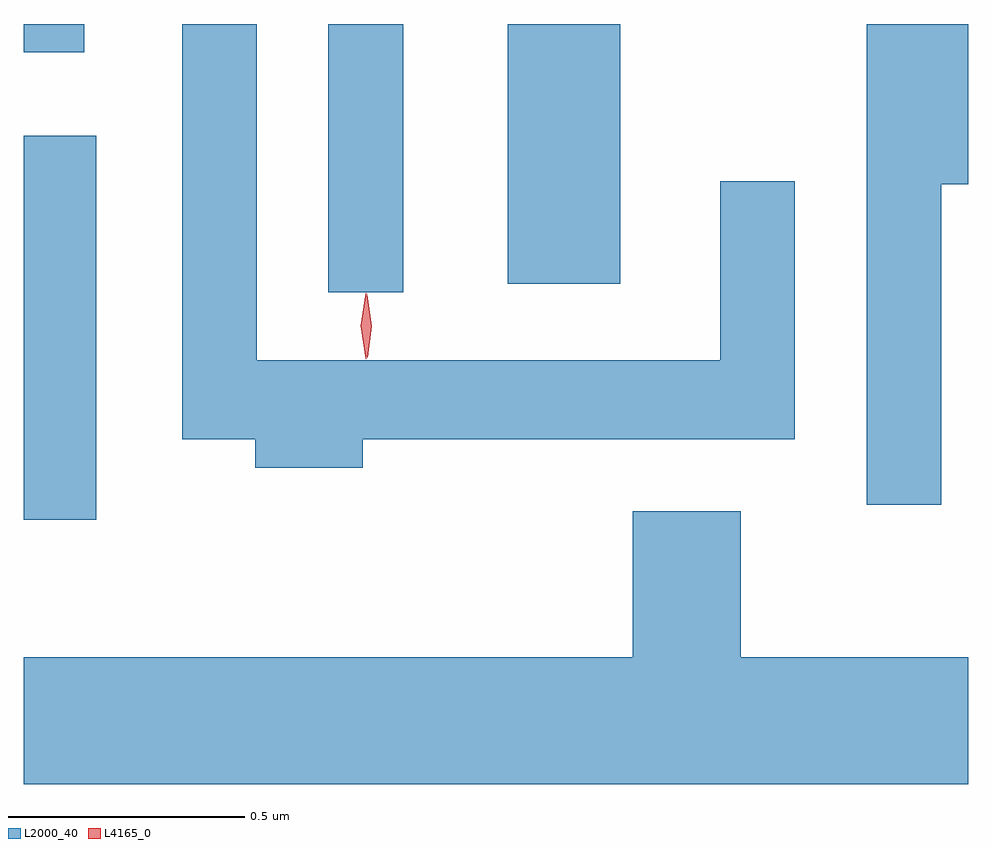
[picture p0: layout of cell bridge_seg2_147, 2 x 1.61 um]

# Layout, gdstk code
import gdstk
lib = gdstk.Library(unit=1e-6, precision=1e-09)
def R(c, l, rs):  # rectangles x0, y0, x1, y1
    for r in rs: c.add(gdstk.rectangle(r[:2], r[2:], *l))
def P(c, l, *ps):  # polygons
    for p in ps: c.add(gdstk.Polygon(p, *l))
L2000_40 = (2000, 40)
L4165_0 = (4165, 0)

bridge_seg2_147 = lib.new_cell('bridge_seg2_147')
R(bridge_seg2_147, L2000_40, [(1067.821,1104.376,1067.974,1105.189), (1068.466,1104.858,1068.624,1105.426), (1068.846,1104.876,1069.084,1105.426), (1067.821,1105.366,1067.949,1105.426)])
P(bridge_seg2_147, L2000_40, [(1069.764,1105.086),(1069.821,1105.086),(1069.821,1105.426),(1069.606,1105.426),(1069.606,1104.408),(1069.764,1104.408)],
  [(1068.539,1104.546),(1069.454,1104.546),(1069.454,1105.093),(1069.296,1105.093),(1069.296,1104.714),(1068.314,1104.714),(1068.314,1105.426),(1068.156,1105.426),(1068.156,1104.546),(1068.311,1104.546),(1068.311,1104.486),(1068.539,1104.486)],
  [(1069.821,1104.084),(1069.339,1104.084),(1069.339,1104.394),(1069.111,1104.394),(1069.111,1104.084),(1067.821,1104.084),(1067.821,1103.816),(1069.821,1103.816)])
P(bridge_seg2_147, L4165_0, [(1068.545,1104.717),(1068.545,1104.717),(1068.535,1104.787),(1068.545,1104.856),(1068.545,1104.856),(1068.546,1104.856),(1068.555,1104.787),(1068.546,1104.717)],
  [(1068.548,1104.719),(1068.548,1104.72),(1068.538,1104.786),(1068.548,1104.852),(1068.548,1104.853),(1068.548,1104.852),(1068.558,1104.786),(1068.549,1104.72)])

lib.write_gds('bridge_seg2_147.gds')
